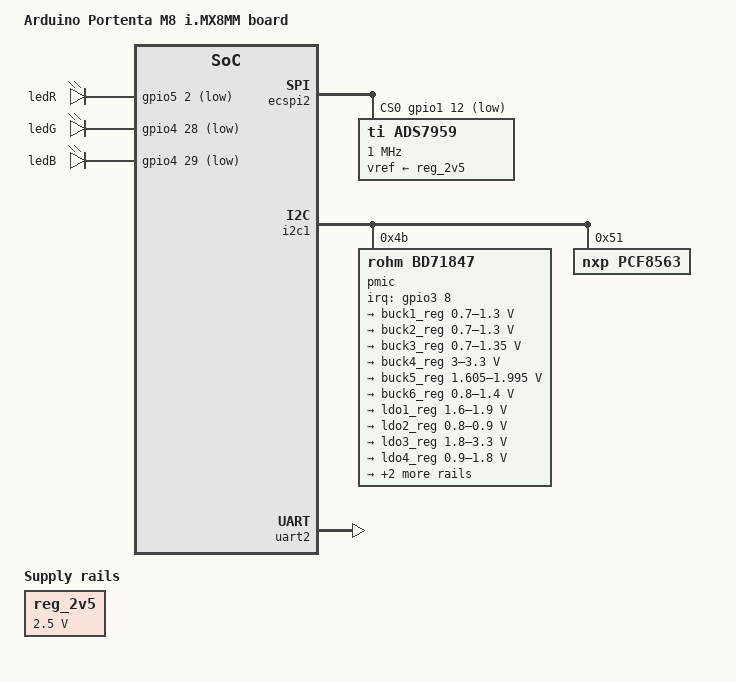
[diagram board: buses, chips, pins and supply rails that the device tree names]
/**
 * Copyright 2021
 *
 * This program is free software; you can redistribute it and/or
 * modify it under the terms of the GNU General Public License
 * as published by the Free Software Foundation; either version 2
 * of the License, or (at your option) any later version.
 *
 * This program is distributed in the hope that it will be useful,
 * but WITHOUT ANY WARRANTY; without even the implied warranty of
 * MERCHANTABILITY or FITNESS FOR A PARTICULAR PURPOSE.  See the
 * GNU General Public License for more details.
 */

#include "portenta-mx8mm.dtsi"

/ {
	model = "Arduino Portenta M8 i.MX8MM board";

	chosen {
		stdout-path = &uart2;
	};

	leds {
		compatible = "gpio-leds";
		pinctrl-names = "default";
		pinctrl-0 = <&pinctrl_gpio_led>;

		ledR {
			label = "ledR";
			gpios = <&gpio5 2 GPIO_ACTIVE_LOW>;
			default-state = "off";
		};

		ledG {
			label = "ledG";
			gpios = <&gpio4 28 GPIO_ACTIVE_LOW>;
			default-state = "off";
		};

		ledB {
			label = "ledB";
			gpios = <&gpio4 29 GPIO_ACTIVE_LOW>;
			linux,default-trigger = "heartbeat";
			default-state = "off";
		};
	};

	reg_2v5: regulator-2v5 {
		compatible = "regulator-fixed";
		regulator-name = "2v5";
		regulator-min-microvolt = <2500000>;
		regulator-max-microvolt = <2500000>;
	};
};

&ecspi2 {
	#address-cells = <1>;
	#size-cells = <0>;
	pinctrl-names = "default";
	pinctrl-0 = <&pinctrl_ecspi2 &pinctrl_ecspi2_cs_adc &pinctrl_ecspi2_cs>;
	num-cs = <2>;
	cs-gpios = <&gpio1 12 GPIO_ACTIVE_LOW>, <&gpio5 13 GPIO_ACTIVE_LOW>;
	status = "okay";

	ads7959: ads7959@0 {
		#address-cells = <1>;
		#size-cells = <1>;
		compatible = "ti,ads7959";
		reg = <0>;
		#io-channel-cells = <1>;
		vref-supply = <&reg_2v5>;
		spi-max-frequency = <1000000>;
	};
};

&i2c1 {
	pmic@4b {
		compatible = "rohm,bd71847";
		reg = <0x4b>;
		pinctrl-0 = <&pinctrl_pmic>;
		pinctrl-names = "default";
		interrupt-parent = <&gpio3>;
		interrupts = <8 GPIO_ACTIVE_LOW>;
		rohm,reset-snvs-powered;
		clocks = <&pcf8563>;

		regulators {
			buck1_reg: BUCK1 {
				regulator-name = "BUCK1";
				regulator-min-microvolt = <700000>;
				regulator-max-microvolt = <1300000>;
				regulator-boot-on;
				regulator-always-on;
				regulator-ramp-delay = <1250>;
			};

			buck2_reg: BUCK2 {
				regulator-name = "BUCK2";
				regulator-min-microvolt = <700000>;
				regulator-max-microvolt = <1300000>;
				regulator-boot-on;
				regulator-always-on;
				regulator-ramp-delay = <1250>;
				rohm,dvs-run-voltage = <1000000>;
				rohm,dvs-idle-voltage = <900000>;
			};

			buck3_reg: BUCK3 {
				// BUCK5 in datasheet
				regulator-name = "BUCK3";
				regulator-min-microvolt = <700000>;
				regulator-max-microvolt = <1350000>;
				regulator-boot-on;
				regulator-always-on;
			};

			buck4_reg: BUCK4 {
				// BUCK6 in datasheet
				regulator-name = "BUCK4";
				regulator-min-microvolt = <3000000>;
				regulator-max-microvolt = <3300000>;
				regulator-boot-on;
				regulator-always-on;
			};

			buck5_reg: BUCK5 {
				// BUCK7 in datasheet
				regulator-name = "BUCK5";
				regulator-min-microvolt = <1605000>;
				regulator-max-microvolt = <1995000>;
				regulator-boot-on;
				regulator-always-on;
			};

			buck6_reg: BUCK6 {
				// BUCK8 in datasheet
				regulator-name = "BUCK6";
				regulator-min-microvolt = <800000>;
				regulator-max-microvolt = <1400000>;
				regulator-boot-on;
				regulator-always-on;
			};

			ldo1_reg: LDO1 {
				regulator-name = "LDO1";
				regulator-min-microvolt = <1600000>;
				regulator-max-microvolt = <1900000>;
				regulator-boot-on;
				regulator-always-on;
			};

			ldo2_reg: LDO2 {
				regulator-name = "LDO2";
				regulator-min-microvolt = <800000>;
				regulator-max-microvolt = <900000>;
				regulator-boot-on;
				regulator-always-on;
			};

			ldo3_reg: LDO3 {
				regulator-name = "LDO3";
				regulator-min-microvolt = <1800000>;
				regulator-max-microvolt = <3300000>;
				regulator-boot-on;
				regulator-always-on;
			};

			ldo4_reg: LDO4 {
				regulator-name = "LDO4";
				regulator-min-microvolt = <900000>;
				regulator-max-microvolt = <1800000>;
				regulator-boot-on;
				regulator-always-on;
			};

			ldo5_reg: LDO5 {
				regulator-name = "LDO5";
				regulator-min-microvolt = <3000000>;
				regulator-max-microvolt = <3000000>;
				regulator-boot-on;
				regulator-always-on;
			};

			ldo6_reg: LDO6 {
				regulator-name = "LDO6";
				regulator-min-microvolt = <900000>;
				regulator-max-microvolt = <1800000>;
				regulator-boot-on;
				regulator-always-on;
			};
		};
	};

	pcf8563: pcf8563@51 {
		compatible = "nxp,pcf8563";
		reg = <0x51>;
		#clock-cells = <0>;
	};
};

&uart2 { /* console */
	pinctrl-names = "default";
	pinctrl-0 = <&pinctrl_uart2>;
	status = "okay";
};

&iomuxc {
	pinctrl_ecspi2_cs_adc: ecspi2csadc {
		fsl,pins = <
			MX8MM_IOMUXC_GPIO1_IO12_GPIO1_IO12		0x40000
		>;
	};

	pinctrl_ecspi2: ecspi2grp {
		fsl,pins = <
			MX8MM_IOMUXC_ECSPI2_SCLK_ECSPI2_SCLK		0x82
			MX8MM_IOMUXC_ECSPI2_MOSI_ECSPI2_MOSI		0x82
			MX8MM_IOMUXC_ECSPI2_MISO_ECSPI2_MISO		0x82
		>;
	};

	pinctrl_ecspi2_cs: ecspi2cs {
		fsl,pins = <
			MX8MM_IOMUXC_ECSPI2_SS0_GPIO5_IO13		0x40000
		>;
	};

	pinctrl_gpio_led: gpioledgrp {
		fsl,pins = <
			MX8MM_IOMUXC_SAI3_MCLK_GPIO5_IO2		0x19
			MX8MM_IOMUXC_SAI3_RXFS_GPIO4_IO28		0x19
			MX8MM_IOMUXC_SAI3_RXC_GPIO4_IO29		0x19
		>;
	};

	pinctrl_pmic: pmicirq {
		fsl,pins = <
			MX8MM_IOMUXC_NAND_DATA02_GPIO3_IO8		0x41
		>;
	};

	pinctrl_uart2: uart2grp {
		fsl,pins = <
			MX8MM_IOMUXC_UART2_RXD_UART2_DCE_RX		0x49
			MX8MM_IOMUXC_UART2_TXD_UART2_DCE_TX		0x49
		>;
	};

	/* Some of these pins are leaved configured by internal ROM code */
	pinctrl_hog_1: hoggrp-1 {
		fsl,pins = <
			MX8MM_IOMUXC_GPIO1_IO08_GPIO1_IO8		0x19
		>;
	};
};
